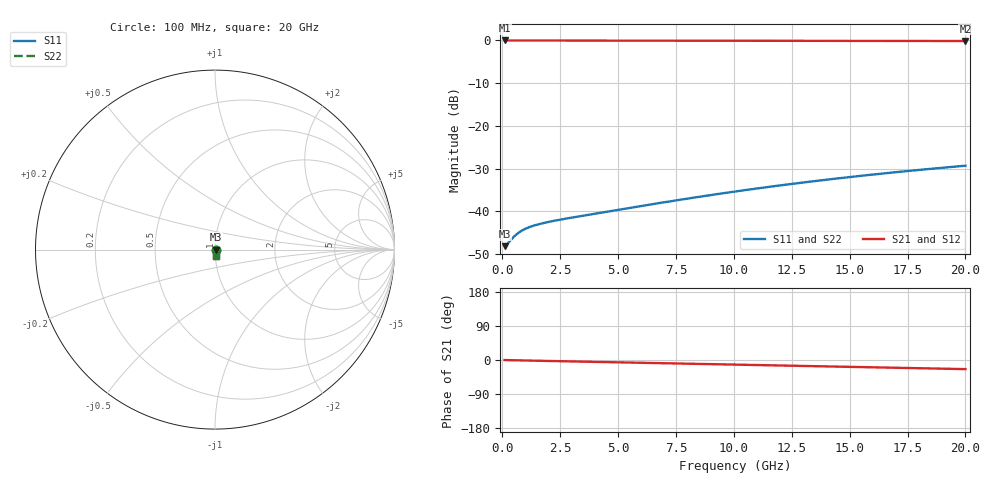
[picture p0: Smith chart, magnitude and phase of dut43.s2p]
! Touchstone file exported from HFSS 2026.1.0
!  File:  C:/ffzhzh/LocalFiles/Ansys_Project_Files/temp_train_BSMRDL_43_1782882429_46784.aedt
!  Generated:  01:08:15 PM Jul  1, 2026
!  Design:  BSMRDL
!  Project:  temp_train_BSMRDL_43_1782882429_46784
! Variables:
!  h_bsmrdl = 2.24um
!  h_ox = 20um
!  h_rdl = 5um
!  h_sub = 80um
!  h_tmrdl = 5um
!  h_tsv = 80um
!  h_via = 3um
!  l_bsmrdl = 422.49um
!  l_sub = 822.49um
!  l_tmrdl = 200um
!  m_sub = 200um
!  pitch = 20.82um
!  r_tsv = 6um
!  s_tmrdl = 10um
!  w_bsmrdl = 18.61um
!  w_sub = 500um
!  w_tmrdl = 12um
!  x_tsv_center1 = 206um
!  x_tsv_center2 = 647.1um
!  x_tsv_center3 = 859.1um
!  x_tsv_center4 = 1300.2um
!  x_tsv_center5 = 1512.2um
!  x_tsv_center6 = 1953.3um
# GHz S MA R 50.000000
! Terminal data exported
! Port[1] = BSM_RDL1_1_T1
! Port[2] = BSM_RDL1_1_T2
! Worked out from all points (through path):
!   200 points, 100 MHz to 20 GHz, reference 50 ohm
!   highest |S21| = -0.03 dB at 100 MHz (marker M1); lowest = -0.2 dB at 20 GHz (marker M2)
!   group delay of S21, straight-line fit = 3.33 ps
!   lowest |S11| = -48.1 dB at 100 MHz (marker M3), VSWR 1.01, Z = 50.4 + j0.0365 ohm
!   |S11| at or under -10 dB: start of sweep to end of sweep
!   |S22| runs from -48.1 to -29.3 dB; largest |S21 - S12| = 4.1e-15
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0.1  0.003923 5.3  0.9961 -0.2  0.9961 -0.2  0.003923 5.3
! Gamma 0 0 0 0
! Port Impedance 50 0 50 0
0.2  0.00413 9.5  0.9959 -0.3  0.9959 -0.3  0.004131 9.5
0.4  0.00474 13.3  0.9954 -0.6  0.9954 -0.6  0.00474 13.3
0.5  0.005058 13.4  0.9951 -0.7  0.9951 -0.7  0.005056 13.4
0.6  0.005354 12.8  0.9948 -0.8  0.9948 -0.8  0.005351 12.8
0.7  0.005622 11.8  0.9945 -1.0  0.9945 -1.0  0.005618 11.7
0.8  0.005861 10.5  0.9942 -1.1  0.9942 -1.1  0.005857 10.5
0.9  0.006075 9.1  0.994 -1.2  0.994 -1.2  0.00607 9.1
1.1  0.006439 6.1  0.9935 -1.5  0.9935 -1.5  0.006433 6.1
1.4  0.006873 1.6  0.9931 -1.8  0.9931 -1.8  0.006869 1.7
1.9  0.007439 -5.2  0.9925 -2.4  0.9925 -2.4  0.007436 -5.2
2.5  0.00801 -12.5  0.9921 -3.1  0.9921 -3.1  0.008008 -12.5
3.5  0.008924 -22.7  0.9915 -4.4  0.9915 -4.4  0.008921 -22.7
6.8  0.01254 -45.3  0.9899 -8.3  0.9899 -8.3  0.01253 -45.3
8.5  0.01481 -52.9  0.989 -10.4  0.989 -10.4  0.0148 -52.9
10.1  0.01715 -58.7  0.988 -12.3  0.988 -12.3  0.01713 -58.7
11.7  0.01965 -63.6  0.9869 -14.2  0.9869 -14.2  0.01963 -63.7
13.4  0.02246 -68.2  0.9858 -16.3  0.9858 -16.3  0.02243 -68.3
15  0.0252 -72.1  0.9847 -18.2  0.9847 -18.2  0.02517 -72.2
16.7  0.02821 -75.9  0.9835 -20.2  0.9835 -20.2  0.02817 -76.1
18.3  0.03109 -79.3  0.9824 -22.1  0.9824 -22.1  0.03105 -79.5
20  0.0342 -82.7  0.9812 -24.1  0.9812 -24.1  0.03415 -82.9
